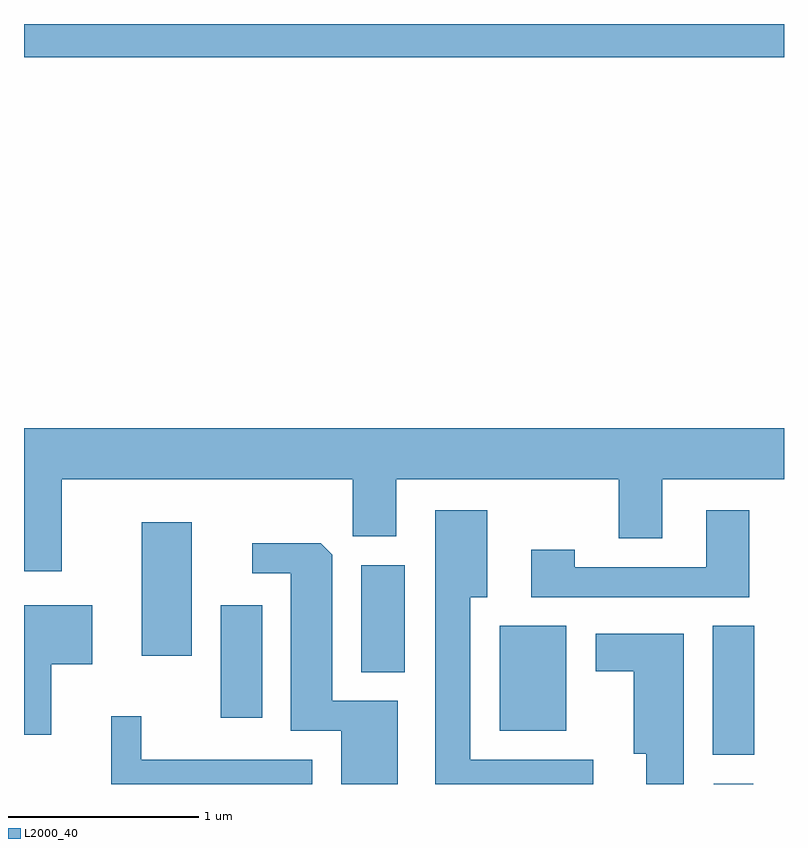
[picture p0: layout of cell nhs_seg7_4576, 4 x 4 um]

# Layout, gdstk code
import gdstk
lib = gdstk.Library(unit=1e-6, precision=1e-09)
def R(c, l, rs):  # rectangles x0, y0, x1, y1
    for r in rs: c.add(gdstk.rectangle(r[:2], r[2:], *l))
def P(c, l, *ps):  # polygons
    for p in ps: c.add(gdstk.Polygon(p, *l))
L2000_40 = (2000, 40)

nhs_seg7_4576 = lib.new_cell('nhs_seg7_4576')
R(nhs_seg7_4576, L2000_40, [(329.241,1728.252,329.449,1728.254), (329.236,1728.406,329.454,1729.084), (328.116,1728.531,328.464,1729.084), (326.646,1728.601,326.864,1729.194), (327.386,1728.841,327.614,1729.404), (326.231,1728.926,326.494,1729.629), (325.611,1732.076,329.611,1732.252)])
P(nhs_seg7_4576, L2000_40, [(325.611,1729.371),(325.809,1729.371),(325.809,1729.856),(327.341,1729.856),(327.341,1729.556),(327.569,1729.556),(327.569,1729.856),(328.741,1729.856),(328.741,1729.546),(328.969,1729.546),(328.969,1729.856),(329.611,1729.856),(329.611,1730.124),(325.611,1730.124)],
  [(329.429,1729.694),(329.201,1729.694),(329.201,1729.394),(328.509,1729.394),(328.509,1729.484),(328.281,1729.484),(328.281,1729.236),(329.429,1729.236)],
  [(328.608,1728.379),(327.959,1728.379),(327.959,1729.236),(328.049,1729.236),(328.049,1729.694),(327.776,1729.694),(327.776,1728.252),(328.608,1728.252)],
  [(327.579,1728.689),(327.234,1728.689),(327.234,1729.459),(327.174,1729.519),(326.813,1729.519),(326.813,1729.361),(327.016,1729.361),(327.016,1728.531),(327.281,1728.531),(327.281,1728.252),(327.579,1728.252)],
  [(325.754,1728.881),(325.969,1728.881),(325.969,1729.194),(325.611,1729.194),(325.611,1728.511),(325.754,1728.511)],
  [(329.084,1729.044),(328.621,1729.044),(328.621,1728.846),(328.821,1728.846),(328.821,1728.411),(328.886,1728.411),(328.886,1728.252),(329.084,1728.252)],
  [(327.128,1728.379),(326.229,1728.379),(326.229,1728.608),(326.071,1728.608),(326.071,1728.252),(327.128,1728.252)])

lib.write_gds('nhs_seg7_4576.gds')
